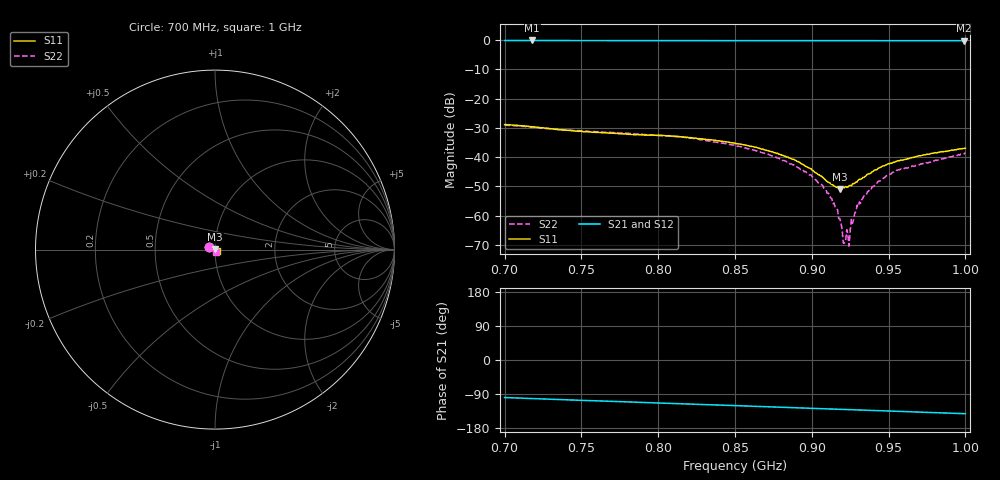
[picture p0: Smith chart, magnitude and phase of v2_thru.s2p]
! 5/26/2025 8:59:04 PM
! C:\ANRITSUVNA\DORIAN\26\V2_THRU2.S2P
! CHANNEL.1
! TR.MEASUREMENT
! CORRECTED.DATA
! RF.CORRECTION: FULL.TWO.PORT.CAL.PORT.1.2
! AVERAGING: 1 PointByPoint
! IF.BANDWIDTH: 300HZ
! SWEEPTYPE:  FREQ.SWEEP(Linear)
! Reference Plane Port Info
! PORT:  PORT1  PORT2
! DISTANCE:  0  m  0  m
! TIME:  0  s  0  s
! PHASE.OFFSET:  0 °  0 °
! LOSS:  0  dB  0  dB
! REF.LOSS:  0  dB  0  dB
! REF.FREQ:  0  Hz  0  Hz
! Power Info
! POWER:  5  dBm  5  dBm
! EFF.POWER:  5  dBm  5  dBm
# GHZ S RI R 50.0
! FREQ.GHZ  S11RE  S11IM  S21RE  S21IM  S12RE  S12IM  S22RE  S22IM
!; PortSelection: Port_12
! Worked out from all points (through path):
!   401 points, 700 MHz to 1 GHz, reference 50 ohm
!   highest |S21| = -0.11 dB at 718 MHz (marker M1); lowest = -0.2 dB at 999.2 MHz (marker M2)
!   group delay of S21, straight-line fit = 393 ps
!   lowest |S11| = -51.0 dB at 918.2 MHz (marker M3), VSWR 1.01, Z = 50.2 + j0.226 ohm
!   |S11| at or under -10 dB: start of sweep to end of sweep
!   |S22| runs from -70.5 to -29.1 dB; largest |S21 - S12| = 0.0029
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0.7  -0.0327 0.0153  -0.1553 -0.9726  -0.1558 -0.9728  -0.0319 0.0147
0.718  -0.0285 0.0162  -0.2011 -0.9669  -0.2023 -0.9654  -0.0284 0.0157
0.75025  -0.0221 0.0162  -0.279 -0.9426  -0.2777 -0.9431  -0.0241 0.0142
0.8005  -0.0146 0.0185  -0.3912 -0.8992  -0.3894 -0.9005  -0.0184 0.0143
0.85  -0.00916 0.0147  -0.4958 -0.8461  -0.4956 -0.8479  -0.0103 0.0117
0.8785  -0.00472 0.0102  -0.5549 -0.8088  -0.5557 -0.8088  -0.00474 0.00831
0.90025  -0.00125 0.00584  -0.5979 -0.7762  -0.5978 -0.7768  -0.00212 0.00409
0.90775  -0.000123 0.00436  -0.6121 -0.7652  -0.6117 -0.7654  -0.00139 0.00262
0.9115  0.000479 0.0036  -0.6189 -0.7597  -0.6185 -0.7598  -0.00106 0.00198
0.91525  0.00139 0.00283  -0.6259 -0.7537  -0.6254 -0.7539  -0.000736 0.0012
0.91825  0.00168 0.00225  -0.6313 -0.7493  -0.6309 -0.7491  -0.00045 0.000765
0.9205  0.00239 0.00192  -0.6353 -0.7457  -0.6348 -0.7458  -0.000255 0.000221
0.92275  0.00268 0.00143  -0.6395 -0.7421  -0.6388 -0.7423  -0.000362 -0.000444
0.92575  0.00307 0.00101  -0.6447 -0.7375  -0.6441 -0.7374  4.6e-06 -0.000861
0.9265  0.00333 0.00105  -0.6459 -0.7362  -0.6454 -0.7364  1.56e-05 -0.000737
0.9295  0.00374 0.000539  -0.6512 -0.7314  -0.6507 -0.7318  8.87e-05 -0.00151
0.9325  0.00428 -0.000114  -0.6567 -0.7268  -0.6561 -0.7272  0.000169 -0.00185
0.93925  0.00545 -0.00133  -0.6688 -0.716  -0.6683 -0.7161  0.000523 -0.00302
0.9505  0.00686 -0.00352  -0.6889 -0.6969  -0.6881 -0.6976  0.000657 -0.00502
0.9565  0.00742 -0.00455  -0.6991 -0.6863  -0.6986 -0.6872  0.000488 -0.00605
0.99925  0.00996 -0.00999  -0.7666 -0.6066  -0.7665 -0.6071  0.00345 -0.0109
1  0.00998 -0.0101  -0.7678 -0.6054  -0.7678 -0.6056  0.00343 -0.0113
